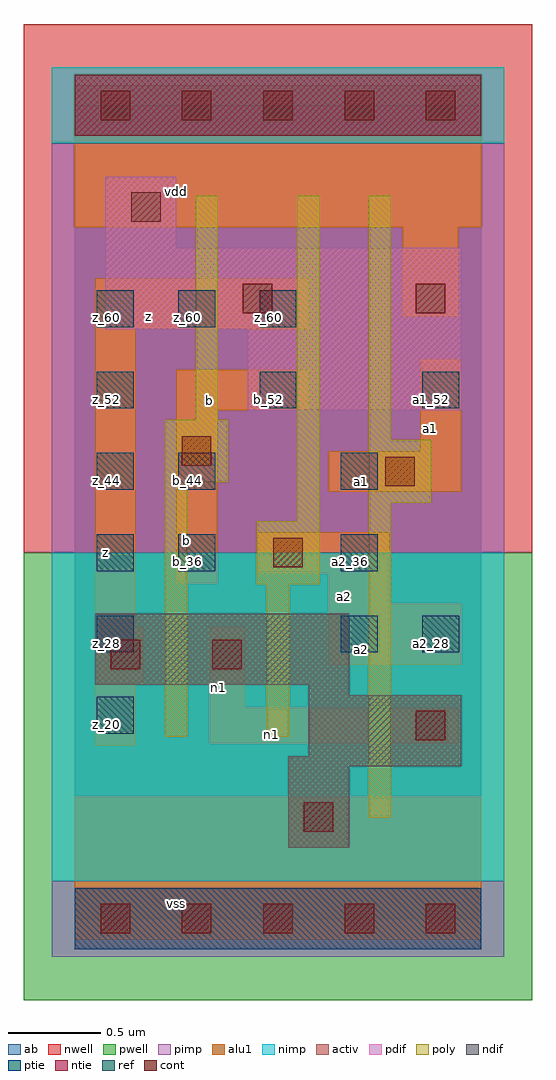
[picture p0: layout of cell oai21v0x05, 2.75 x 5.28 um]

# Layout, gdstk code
import gdstk
lib = gdstk.Library(unit=1e-6, precision=2.5e-09)
def R(c, l, rs):  # rectangles x0, y0, x1, y1
    for r in rs: c.add(gdstk.rectangle(r[:2], r[2:], *l))
def A(c, l, x, y, w, h, nx, ny, dx, dy):  # array of equal rectangles
    R(c, l, [(x+i*dx, y+j*dy, x+i*dx+w, y+j*dy+h) for i in range(nx) for j in range(ny)])
ndif = (3, 0)
pdif = (4, 0)
ntie = (5, 0)
ptie = (6, 0)
ref = (24, 0)
cont = (25, 0)
pwell = (41, 0)
nwell = (42, 0)
activ = (43, 0)
pimp = (44, 0)
nimp = (45, 0)
poly = (46, 0)
alu1 = (49, 0)
ab = (63, 0)

oai21v0x05 = lib.new_cell('oai21v0x05')
R(oai21v0x05, ndif, [(1.155,0.385,1.485,0.825), (1.155,0.825,2.09,0.88), (1.265,0.88,2.09,1.21), (1.265,1.21,1.485,1.265), (0.11,1.265,1.485,1.65)])
R(oai21v0x05, pdif, [(0.935,2.75,2.09,3.19), (0.165,3.19,2.09,3.63), (0.165,3.63,0.55,4.015)])
R(oai21v0x05, ntie, [(0,4.235,2.2,4.565)])
R(oai21v0x05, ptie, [(0,-0.165,2.2,0.165)])
A(oai21v0x05, ref, 0.12, 1, 0.2, 0.2, 1, 4, 0, 0.44)
A(oai21v0x05, ref, 1.44, 1.44, 0.2, 0.2, 1, 3, 0, 0.44)
A(oai21v0x05, ref, 0.12, 2.76, 0.2, 0.2, 3, 1, 0.88, 0)
A(oai21v0x05, ref, 0.12, 3.2, 0.2, 0.2, 3, 1, 0.44, 0)
R(oai21v0x05, ref, [(1.88,1.44,2.08,1.64), (0.56,1.88,0.76,2.08), (0.56,2.32,0.76,2.52)])
A(oai21v0x05, cont, 0.14, -0.08, 0.16, 0.16, 5, 2, 0.44, 4.4)
R(oai21v0x05, cont, [(1.24,0.47,1.4,0.63), (1.845,0.965,2.005,1.125), (0.195,1.35,0.355,1.51), (0.745,1.35,0.905,1.51), (1.075,1.9,1.235,2.06), (1.68,2.34,1.84,2.5), (0.58,2.45,0.74,2.61), (0.91,3.275,1.07,3.435), (1.845,3.275,2.005,3.435), (0.305,3.77,0.465,3.93)])
R(oai21v0x05, pwell, [(-0.275,-0.44,2.475,1.98)])
R(oai21v0x05, nwell, [(-0.275,1.98,2.475,4.84)])
R(oai21v0x05, activ, [(0,-0.165,2.2,0.165), (1.155,0.385,1.485,0.825), (1.155,0.825,2.09,0.88), (1.265,0.88,2.09,1.21), (1.265,1.21,1.485,1.265), (0.11,1.265,1.485,1.65), (0.935,2.75,2.09,3.19), (0.165,3.19,2.09,3.63), (0.165,3.63,0.55,4.015), (0,4.235,2.2,4.565)])
R(oai21v0x05, pimp, [(-0.125,-0.205,2.325,0.205), (-0.125,1.98,2.325,4.195)])
R(oai21v0x05, nimp, [(-0.125,0.205,2.325,1.98), (-0.125,4.195,2.325,4.605)])
R(oai21v0x05, poly, [(1.59,0.545,1.71,2.25), (0.49,0.985,0.61,2.36), (1.04,0.985,1.16,1.81), (0.985,1.81,1.325,2.15), (1.205,2.15,1.325,3.91), (1.59,2.25,1.93,2.59), (0.49,2.36,0.83,2.7), (1.59,2.59,1.71,3.91), (0.655,2.7,0.775,3.91)])
R(oai21v0x05, alu1, [(0,-0.11,2.2,0.66), (0.11,0.935,0.33,1.28), (0.73,0.95,2.075,1.14), (0.73,1.14,0.92,1.58), (0.11,1.28,0.37,1.58), (1.375,1.375,2.09,1.705), (0.11,1.58,0.33,3.19), (1.375,1.705,1.705,1.87), (0.55,1.815,0.77,2.75), (0.99,1.87,1.705,2.09), (1.375,2.31,2.09,2.53), (1.87,2.53,2.09,3.025), (0.55,2.75,1.265,2.97), (0.11,3.19,1.265,3.465), (1.775,3.26,2.075,3.74), (0,3.74,2.2,4.51)])
R(oai21v0x05, ab, [(0,0,2.2,4.4)])
oai21v0x05.add(gdstk.Label('vss', (0.55,0.0825), layer=49, texttype=0))
oai21v0x05.add(gdstk.Label('n1', (1.065,0.9975), layer=49, texttype=0))
oai21v0x05.add(gdstk.Label('a2', (1.5525,1.4575), layer=49, texttype=0))
oai21v0x05.add(gdstk.Label('n1', (0.7775,1.25), layer=49, texttype=0))
oai21v0x05.add(gdstk.Label('a2', (1.4575,1.745), layer=49, texttype=0))
oai21v0x05.add(gdstk.Label('a1', (1.5525,2.365), layer=49, texttype=0))
oai21v0x05.add(gdstk.Label('a1', (1.925,2.6525), layer=49, texttype=0))
oai21v0x05.add(gdstk.Label('b', (0.605,2.0475), layer=49, texttype=0))
oai21v0x05.add(gdstk.Label('b', (0.7275,2.805), layer=49, texttype=0))
oai21v0x05.add(gdstk.Label('z', (0.165,1.9825), layer=49, texttype=0))
oai21v0x05.add(gdstk.Label('z', (0.3975,3.2575), layer=49, texttype=0))
oai21v0x05.add(gdstk.Label('vdd', (0.55,3.9325), layer=49, texttype=0))
oai21v0x05.add(gdstk.Label('a2_28', (1.49,1.49), layer=24, texttype=0))
oai21v0x05.add(gdstk.Label('a2_28', (1.93,1.49), layer=24, texttype=0))
oai21v0x05.add(gdstk.Label('a2_36', (1.49,1.93), layer=24, texttype=0))
oai21v0x05.add(gdstk.Label('a1_52', (1.93,2.81), layer=24, texttype=0))
oai21v0x05.add(gdstk.Label('a1_44', (1.49,2.37), layer=24, texttype=0))
oai21v0x05.add(gdstk.Label('z_60', (0.17,3.25), layer=24, texttype=0))
oai21v0x05.add(gdstk.Label('z_52', (0.17,2.81), layer=24, texttype=0))
oai21v0x05.add(gdstk.Label('z_44', (0.17,2.37), layer=24, texttype=0))
oai21v0x05.add(gdstk.Label('z_36', (0.17,1.93), layer=24, texttype=0))
oai21v0x05.add(gdstk.Label('z_28', (0.17,1.49), layer=24, texttype=0))
oai21v0x05.add(gdstk.Label('z_20', (0.17,1.05), layer=24, texttype=0))
oai21v0x05.add(gdstk.Label('z_60', (1.05,3.25), layer=24, texttype=0))
oai21v0x05.add(gdstk.Label('b_52', (1.05,2.81), layer=24, texttype=0))
oai21v0x05.add(gdstk.Label('z_60', (0.61,3.25), layer=24, texttype=0))
oai21v0x05.add(gdstk.Label('b_44', (0.61,2.37), layer=24, texttype=0))
oai21v0x05.add(gdstk.Label('b_36', (0.61,1.93), layer=24, texttype=0))

lib.write_gds('oai21v0x05.gds')
